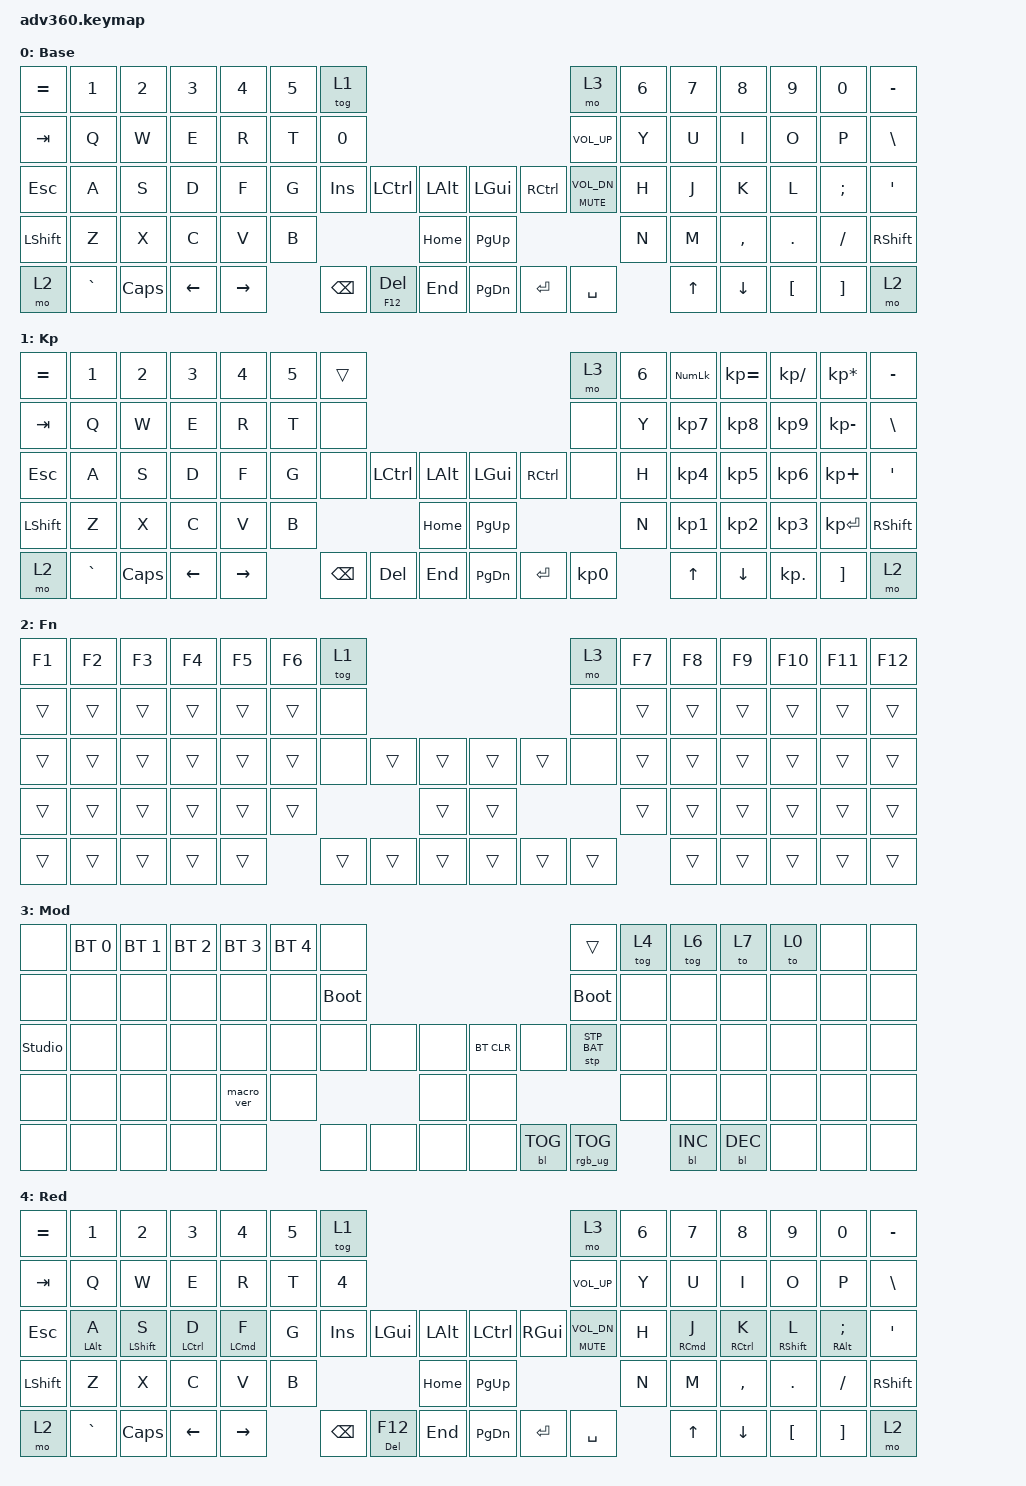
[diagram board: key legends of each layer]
#include <dt-bindings/zmk/stp.h>
#include <behaviors.dtsi>
#include <dt-bindings/zmk/backlight.h>
#include <dt-bindings/zmk/bt.h>
#include <dt-bindings/zmk/keys.h>
#include <dt-bindings/zmk/rgb.h>

/ {
    behaviors {
        #include "macros.dtsi"
      #include "version.dtsi"

        hm: homerow_mods {
            compatible = "zmk,behavior-hold-tap";
            label = "HOMEROW_MODS";
            #binding-cells = <2>;
            tapping-term-ms = <400>;
            flavor = "tap-preferred";
            bindings = <&kp>, <&kp>;

            quick-tap-ms = <400>;
            require-prior-idle-ms = <400>;
        };

        hmeb: hmeb {
            compatible = "zmk,behavior-hold-tap";
            label = "HMEB";
            bindings = <&kp>, <&kp>;

            #binding-cells = <2>;
            tapping-term-ms = <250>;
            flavor = "tap-preferred";
        };
    };

    keymap {
        compatible = "zmk,keymap";

        default_layer {
            display-name = "Base";
            bindings = <
&kp EQUAL  &kp N1     &kp N2    &kp N3    &kp N4     &kp N5  &tog 1                                                       &mo 3                &kp N6  &kp N7  &kp N8     &kp N9    &kp N0    &kp MINUS
&kp TAB    &kp Q      &kp W     &kp E     &kp R      &kp T   &kp N0                                                       &kp C_VOLUME_UP      &kp Y   &kp U   &kp I      &kp O     &kp P     &kp BSLH
&kp ESC    &kp A      &kp S     &kp D     &kp F      &kp G   &kp INSERT  &kp LCTRL    &kp LALT      &kp LGUI   &kp RCTRL  &mt C_MUTE C_VOL_DN  &kp H   &kp J   &kp K      &kp L     &kp SEMI  &kp SQT
&kp LSHFT  &kp Z      &kp X     &kp C     &kp V      &kp B                            &kp HOME      &kp PG_UP                                  &kp N   &kp M   &kp COMMA  &kp DOT   &kp FSLH  &kp RSHFT
&mo 2      &kp GRAVE  &kp CAPS  &kp LEFT  &kp RIGHT          &kp BSPC    &mt F12 DEL  &kp END       &kp PG_DN  &kp ENTER  &kp SPACE                    &kp UP  &kp DOWN   &kp LBKT  &kp RBKT  &mo 2
            >;
        };

        keypad {
            display-name = "Kp";
            bindings = <
&kp EQUAL  &kp N1     &kp N2    &kp N3    &kp N4     &kp N5  &trans                                                   &mo 3      &kp N6  &kp KP_NUM  &kp KP_EQUAL  &kp KP_DIVIDE  &kp KP_MULTIPLY  &kp MINUS
&kp TAB    &kp Q      &kp W     &kp E     &kp R      &kp T   &none                                                    &none      &kp Y   &kp KP_N7   &kp KP_N8     &kp KP_N9      &kp KP_MINUS     &kp BSLH
&kp ESC    &kp A      &kp S     &kp D     &kp F      &kp G   &none     &kp LCTRL  &kp LALT      &kp LGUI   &kp RCTRL  &none      &kp H   &kp KP_N4   &kp KP_N5     &kp KP_N6      &kp KP_PLUS      &kp SQT
&kp LSHFT  &kp Z      &kp X     &kp C     &kp V      &kp B                        &kp HOME      &kp PG_UP                        &kp N   &kp KP_N1   &kp KP_N2     &kp KP_N3      &kp KP_ENTER     &kp RSHFT
&mo 2      &kp GRAVE  &kp CAPS  &kp LEFT  &kp RIGHT          &kp BSPC  &kp DEL    &kp END       &kp PG_DN  &kp ENTER  &kp KP_N0          &kp UP      &kp DOWN      &kp KP_DOT     &kp RBKT         &mo 2
            >;
        };

        fn {
            display-name = "Fn";
            bindings = <
&kp F1  &kp F2  &kp F3  &kp F4  &kp F5  &kp F6  &tog 1                                      &mo 3   &kp F7  &kp F8  &kp F9  &kp F10  &kp F11  &kp F12
&trans  &trans  &trans  &trans  &trans  &trans  &none                                       &none   &trans  &trans  &trans  &trans   &trans   &trans
&trans  &trans  &trans  &trans  &trans  &trans  &none   &trans  &trans      &trans  &trans  &none   &trans  &trans  &trans  &trans   &trans   &trans
&trans  &trans  &trans  &trans  &trans  &trans                  &trans      &trans                  &trans  &trans  &trans  &trans   &trans   &trans
&trans  &trans  &trans  &trans  &trans          &trans  &trans  &trans      &trans  &trans  &trans          &trans  &trans  &trans   &trans   &trans
            >;
        };

        mod {
            display-name = "Mod";
            bindings = <
&none           &bt BT_SEL 0  &bt BT_SEL 1  &bt BT_SEL 2  &bt BT_SEL 3  &bt BT_SEL 4  &none                                                  &trans           &tog 4  &tog 6      &to 7       &to 0  &none  &none
&none           &none         &none         &none         &none         &none         &bootloader                                            &bootloader      &none   &none       &none       &none  &none  &none
&studio_unlock  &none         &none         &none         &none         &none         &none        &none  &none      &bt BT_CLR  &none       &stp STP_BAT     &none   &none       &none       &none  &none  &none
&none           &none         &none         &none         &macro_ver    &none                             &none      &none                                    &none   &none       &none       &none  &none  &none
&none           &none         &none         &none         &none                       &none        &none  &none      &none       &bl BL_TOG  &rgb_ug RGB_TOG          &bl BL_INC  &bl BL_DEC  &none  &none  &none
            >;
        };

        layer_8 {
            display-name = "Red";
            bindings = <
&kp EQUAL  &kp N1            &kp N2              &kp N3                &kp N4                &kp N5  &tog 1                                                                    &mo 3                &kp N6  &kp N7                 &kp N8                 &kp N9               &kp N0                     &kp MINUS
&kp TAB    &kp Q             &kp W               &kp E                 &kp R                 &kp T   &kp NUMBER_4                                                              &kp C_VOLUME_UP      &kp Y   &kp U                  &kp I                  &kp O                &kp P                      &kp BSLH
&kp ESC    &hmeb LEFT_ALT A  &hmeb LEFT_SHIFT S  &hmeb LEFT_CONTROL D  &hmeb LEFT_COMMAND F  &kp G   &kp INSERT    &kp LGUI     &kp LEFT_ALT      &kp LEFT_CONTROL  &kp RGUI   &mt C_MUTE C_VOL_DN  &kp H   &hmeb RIGHT_COMMAND J  &hmeb RIGHT_CONTROL K  &hmeb RIGHT_SHIFT L  &hmeb RIGHT_ALT SEMICOLON  &kp SQT
&kp LSHFT  &kp Z             &kp X               &kp C                 &kp V                 &kp B                              &kp HOME          &kp PG_UP                                         &kp N   &kp M                  &kp COMMA              &kp DOT              &kp FSLH                   &kp RSHFT
&mo 2      &kp GRAVE         &kp CAPS            &kp LEFT              &kp RIGHT                     &kp BSPC      &mt DEL F12  &kp END           &kp PG_DN         &kp ENTER  &kp SPACE                    &kp UP                 &kp DOWN               &kp LBKT             &kp RBKT                   &mo 2
            >;
        };

        extra1 {
            display-name = "Red";
            status = "reserved";
            bindings = <
&kp EQUAL  &kp N1            &kp N2              &kp N3                &kp N4                &kp N5  &tog 1                                                                    &mo 3                &kp N6  &kp N7                 &kp N8                 &kp N9               &kp N0                     &kp MINUS
&kp TAB    &kp Q             &kp W               &kp E                 &kp R                 &kp T   &kp NUMBER_4                                                              &kp C_VOLUME_UP      &kp Y   &kp U                  &kp I                  &kp O                &kp P                      &kp BSLH
&kp ESC    &hmeb LEFT_ALT A  &hmeb LEFT_SHIFT S  &hmeb LEFT_CONTROL D  &hmeb LEFT_COMMAND F  &kp G   &kp INSERT    &kp LGUI     &kp LEFT_ALT      &kp LEFT_CONTROL  &kp RGUI   &mt C_MUTE C_VOL_DN  &kp H   &hmeb RIGHT_COMMAND J  &hmeb RIGHT_CONTROL K  &hmeb RIGHT_SHIFT L  &hmeb RIGHT_ALT SEMICOLON  &kp SQT
&kp LSHFT  &kp Z             &kp X               &kp C                 &kp V                 &kp B                              &kp HOME          &kp PG_UP                                         &kp N   &kp M                  &kp COMMA              &kp DOT              &kp FSLH                   &kp RSHFT
&mo 2      &kp GRAVE         &kp CAPS            &kp LEFT              &kp RIGHT                     &kp BSPC      &mt DEL F12  &kp END           &kp PG_DN         &kp ENTER  &kp SPACE                    &kp UP                 &kp DOWN               &kp LBKT             &kp RBKT                   &mo 2
            >;
        };

        extra2 {
            display-name = "Purple";
            status = "reserved";
            bindings = <
&kp EQUAL  &kp N1     &kp N2    &kp N3    &kp N4     &kp N5  &tog 1                                                     &mo 3                &kp N6  &kp N7  &kp N8     &kp N9    &kp N0    &kp MINUS
&kp TAB    &kp Q      &kp W     &kp E     &kp R      &kp T   &kp N5                                                     &kp C_VOLUME_UP      &kp Y   &kp U   &kp I      &kp O     &kp P     &kp BSLH
&kp ESC    &kp A      &kp S     &kp D     &kp F      &kp G   &kp INSERT  &kp LCTRL  &kp LALT      &kp LGUI   &kp RCTRL  &mt C_MUTE C_VOL_DN  &kp H   &kp J   &kp K      &kp L     &kp SEMI  &kp SQT
&kp LSHFT  &kp Z      &kp X     &kp C     &kp V      &kp B                          &kp HOME      &kp PG_UP                                  &kp N   &kp M   &kp COMMA  &kp DOT   &kp FSLH  &kp RSHFT
&mo 2      &kp GRAVE  &kp CAPS  &kp LEFT  &kp RIGHT          &kp SPACE   &kp DEL    &kp END       &kp PG_DN  &kp ENTER  &kp BACKSPACE                &kp UP  &kp DOWN   &kp LBKT  &kp RBKT  &mo 2
            >;
        };

        extra3 {
            display-name = "Cyan";
            status = "reserved";
            bindings = <
&kp EQUAL  &kp N1     &kp N2    &kp N3    &kp N4     &kp N5  &tog 1                                                            &mo 3                &kp N6  &kp N7  &kp N8     &kp N9    &kp N0    &kp MINUS
&kp TAB    &kp Q      &kp W     &kp E     &kp R      &kp T   &none                                                             &kp C_VOLUME_UP      &kp Y   &kp U   &kp I      &kp O     &kp P     &kp BSLH
&kp ESC    &kp A      &kp S     &kp D     &kp F      &kp G   &kp INSERT  &kp LGUI  &kp LALT      &kp RIGHT_CONTROL  &kp RGUI   &mt K_MUTE C_VOL_DN  &kp H   &kp J   &kp K      &kp L     &kp SEMI  &kp SQT
&kp LSHFT  &kp Z      &kp X     &kp C     &kp V      &kp B                         &kp HOME      &kp PG_UP                                          &kp N   &kp M   &kp COMMA  &kp DOT   &kp FSLH  &kp RSHFT
&mo 2      &kp GRAVE  &kp CAPS  &kp LEFT  &kp RIGHT          &kp BSPC    &kp DEL   &kp END       &kp PG_DN          &kp ENTER  &kp SPACE                    &kp UP  &kp DOWN   &kp LBKT  &kp RBKT  &mo 2
            >;
        };

        extra4 {
            display-name = "Yellow";
            status = "reserved";
            bindings = <
&kp EQUAL  &kp N1     &kp N2    &kp N3    &kp N4     &kp N5  &tog 1                                                     &mo 3                &kp N6  &kp N7  &kp N8     &kp N9    &kp N0    &kp MINUS
&kp TAB    &kp Q      &kp W     &kp E     &kp R      &kp T   &none                                                      &kp C_VOLUME_UP      &kp Y   &kp U   &kp I      &kp O     &kp P     &kp BSLH
&kp ESC    &kp A      &kp S     &kp D     &kp F      &kp G   &kp INSERT  &kp LCTRL  &kp LALT      &kp LGUI   &kp RCTRL  &mt K_MUTE C_VOL_DN  &kp H   &kp J   &kp K      &kp L     &kp SEMI  &kp SQT
&kp LSHFT  &kp Z      &kp X     &kp C     &kp V      &kp B                          &kp HOME      &kp PG_UP                                  &kp N   &kp M   &kp COMMA  &kp DOT   &kp FSLH  &kp RSHFT
&mo 2      &kp GRAVE  &kp CAPS  &kp LEFT  &kp RIGHT          &kp BSPC    &kp DEL    &kp END       &kp PG_DN  &kp ENTER  &kp SPACE                    &kp UP  &kp DOWN   &kp LBKT  &kp RBKT  &mo 2
            >;
        };
    };
};
